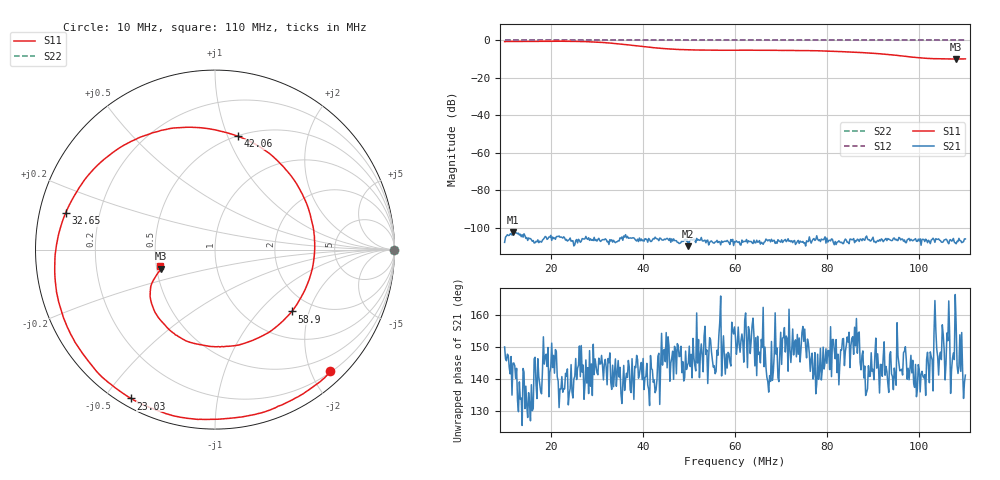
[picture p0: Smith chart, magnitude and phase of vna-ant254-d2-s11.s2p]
! Anritsu VNA Master:  Model: MS2034B/10/19/501
! SN:  1337062
! /bd0/ovro-jan-2016/vna-jan/vna-ant254-d2-s11.s2p
! Existing Calibration Information:
! TYPE:  Current Settings,  Active Cal Settings
! TIME:  01/13/2016 05:16:18 PM,  01/13/2016 05:04:46 PM
! INTERNAL TEMP:  39.0 C,  41.8 C
! # POINTS:  500,  500
! START FREQ:  10.000 MHz,  10.000 MHz
! STOP FREQ:  110.000 MHz,  110.000 MHz
! SOURCE POWER:  High,  High
! IFBW:  100 Hz,  100 Hz
! AVG FACTOR:  4 ,  4
! REF PLANE 1:  0 mm,  0 mm
! REF PLANE 2:  0 mm,  0 mm
! CAL TYPE:  Full S11,  Full S11
! CAL METHOD:  SOLT,  SOLT
! CAL LINE TYPE:  Coax,  Coax
! DUT PORT 1:  K-Conn(M),  K-Conn(M)
! DUT PORT 2:  N-Conn(M),  N-Conn(M)
! CAL STATUS:  OK: Accuracy High,  --
# GHZ S DB R 50.0
! FREQ.GHZ  S11DB  S11A  S21DB  S21A  S12DB  S12A  S22DB  S22A
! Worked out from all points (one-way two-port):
!   500 points, 10 MHz to 110 MHz, reference 50 ohm
!   highest |S21| = -102.41 dB at 11.8 MHz (marker M1); lowest = -109.7 dB at 49.88 MHz (marker M2)
!   lowest |S11| = -9.9 dB at 108 MHz (marker M3), VSWR 1.94, Z = 26.3 - j6.21 ohm
!   |S11| at or under -10 dB: nowhere
!   |S22| runs from 0.0 to 0.0 dB; largest |S21 - S12| = 1
!   S11 on the Smith chart (normalised r, x): 10 MHz: 0.21, -2.31; 23.03 MHz: 0.03, -0.58; 32.65 MHz: 0.08, +0.12; 42.06 MHz: 0.50, +1.09; 58.9 MHz: 1.57, -1.55; 110 MHz: 0.52, -0.11
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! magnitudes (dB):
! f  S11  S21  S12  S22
! 10 MHz  -0.6  -107.7  0.0  0.0
! 11.8 MHz  -0.5  -102.4  0.0  0.0
! 23.03 MHz  -0.4  -105.3  0.0  0.0
! 26.83 MHz  -0.6  -105.7  0.0  0.0
! 29.64 MHz  -0.8  -106.7  0.0  0.0
! 32.65 MHz  -1.3  -108.8  0.0  0.0
! 35.25 MHz  -1.9  -105.7  0.0  0.0
! 42.06 MHz  -3.8  -106.4  0.0  0.0
! 43.47 MHz  -4.1  -106.8  0.0  0.0
! 47.07 MHz  -4.7  -106.8  0.0  0.0
! 49.88 MHz  -5.0  -109.7  0.0  0.0
! 58.9 MHz  -5.2  -108.8  0.0  0.0
! 60.1 MHz  -5.2  -107.5  0.0  0.0
! 76.73 MHz  -5.4  -106.9  0.0  0.0
! 81.34 MHz  -5.8  -107.8  0.0  0.0
! 86.55 MHz  -6.3  -106.0  0.0  0.0
! 90.36 MHz  -6.9  -107.2  0.0  0.0
! 93.37 MHz  -7.6  -105.9  0.0  0.0
! 98.98 MHz  -9.0  -106.2  0.0  0.0
! 101.8 MHz  -9.6  -107.9  0.0  0.0
! 108 MHz  -9.9  -108.4  0.0  0.0
! 110 MHz  -9.8  -105.9  0.0  0.0
